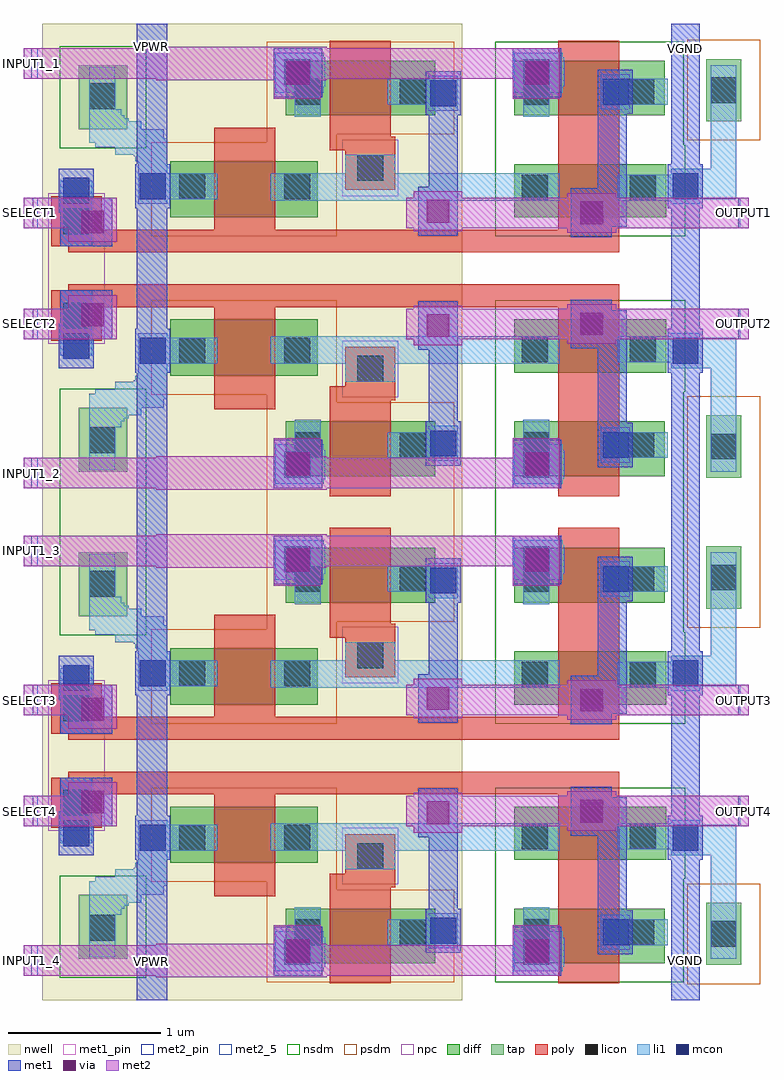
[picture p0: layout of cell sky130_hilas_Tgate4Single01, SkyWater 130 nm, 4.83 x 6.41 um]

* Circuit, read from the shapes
.subckt sky130_hilas_Tgate4Single01 INPUT1_1 INPUT1_2 INPUT1_3 INPUT1_4 OUTPUT1 OUTPUT2 OUTPUT3 OUTPUT4 SELECT1 SELECT2 SELECT3 SELECT4 VGND VPWR
XM1 OUTPUT4 SELECT4 INPUT1_4 VGND sky130_fd_pr__nfet_01v8 w=0.36 l=0.4
XM2 VGND SELECT4 n1 VGND sky130_fd_pr__nfet_01v8 w=0.35 l=0.4
XM3 VGND SELECT3 n2 VGND sky130_fd_pr__nfet_01v8 w=0.35 l=0.4
XM4 OUTPUT3 SELECT3 INPUT1_3 VGND sky130_fd_pr__nfet_01v8 w=0.36 l=0.4
XM5 OUTPUT2 SELECT2 INPUT1_2 VGND sky130_fd_pr__nfet_01v8 w=0.36 l=0.4
XM6 VGND SELECT2 n3 VGND sky130_fd_pr__nfet_01v8 w=0.35 l=0.4
XM7 VGND SELECT1 n4 VGND sky130_fd_pr__nfet_01v8 w=0.35 l=0.4
XM8 OUTPUT1 SELECT1 INPUT1_1 VGND sky130_fd_pr__nfet_01v8 w=0.36 l=0.4
XM9 n1 SELECT4 VPWR VPWR sky130_fd_pr__pfet_01v8 w=0.37 l=0.4
XM10 n2 SELECT3 VPWR VPWR sky130_fd_pr__pfet_01v8 w=0.37 l=0.4
XM11 n3 SELECT2 VPWR VPWR sky130_fd_pr__pfet_01v8 w=0.37 l=0.4
XM12 n4 SELECT1 VPWR VPWR sky130_fd_pr__pfet_01v8 w=0.37 l=0.4
XM13 OUTPUT4 n1 INPUT1_4 VPWR sky130_fd_pr__pfet_01v8 w=0.36 l=0.4
XM14 OUTPUT3 n2 INPUT1_3 VPWR sky130_fd_pr__pfet_01v8 w=0.36 l=0.4
XM15 OUTPUT2 n3 INPUT1_2 VPWR sky130_fd_pr__pfet_01v8 w=0.36 l=0.4
XM16 OUTPUT1 n4 INPUT1_1 VPWR sky130_fd_pr__pfet_01v8 w=0.36 l=0.4
.ends

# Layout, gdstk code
import gdstk
lib = gdstk.Library(unit=1e-6, precision=1e-09)
def R(c, l, rs):  # rectangles x0, y0, x1, y1
    for r in rs: c.add(gdstk.rectangle(r[:2], r[2:], *l))
nwell = (64, 20)
diff = (65, 20)
tap = (65, 44)
poly = (66, 20)
licon = (66, 44)
li1 = (67, 20)
mcon = (67, 44)
met1_pin = (68, 16)
met1 = (68, 20)
via = (68, 44)
met2_5 = (69, 5)
met2_pin = (69, 16)
met2 = (69, 20)
nsdm = (93, 44)
psdm = (94, 20)
npc = (95, 20)

sky130_hilas_li2m1 = lib.new_cell('sky130_hilas_li2m1')
R(sky130_hilas_li2m1, li1, [(-0.08,-0.05,0.11,0.18)])
R(sky130_hilas_li2m1, mcon, [(-0.07,-0.02,0.1,0.15)])
R(sky130_hilas_li2m1, met1, [(-0.1,-0.08,0.13,0.21)])

sky130_hilas_li2m2 = lib.new_cell('sky130_hilas_li2m2')
R(sky130_hilas_li2m2, li1, [(-0.13,-0.12,0.19,-0.09), (-0.13,-0.09,0.2,0.1), (-0.13,0.1,0.19,0.14)])
R(sky130_hilas_li2m2, mcon, [(-0.07,-0.08,0.1,0.09)])
R(sky130_hilas_li2m2, met1, [(-0.14,-0.15,0.18,0.17)])
R(sky130_hilas_li2m2, via, [(-0.055,-0.065,0.095,0.085)])
R(sky130_hilas_li2m2, met2, [(-0.14,-0.15,0.17,0.18)])

sky130_hilas_m12m2 = lib.new_cell('sky130_hilas_m12m2')
R(sky130_hilas_m12m2, met1, [(-0.06,-0.1,0.2,0.22)])
R(sky130_hilas_m12m2, via, [(-0.005,-0.015,0.145,0.135)])
R(sky130_hilas_m12m2, met2, [(-0.09,-0.07,0.23,0.19)])

sky130_hilas_tgatesingle = lib.new_cell('sky130_hilas_TgateSingle01Part2')
R(sky130_hilas_tgatesingle, nwell, [(-0.67,-1.81,0.96,-0.97), (-0.18,-0.97,0.96,-0.38)])
R(sky130_hilas_tgatesingle, diff, [(-0.2,-1.62,0.78,-1.26)])
R(sky130_hilas_tgatesingle, poly, [(0.09,-1.75,0.49,-1.03)])
R(sky130_hilas_tgatesingle, licon, [(-0.14,-1.5,0.03,-1.33), (0.55,-1.5,0.72,-1.33)])
R(sky130_hilas_tgatesingle, li1, [(-0.14,-1.55,0.03,-1.25), (0.47,-1.5,0.85,-1.33), (0.72,-1.33,0.85,-1.32), (-0.18,-0.88,0.96,-0.7)])
R(sky130_hilas_tgatesingle, met1, [(0.72,-1.55,0.95,-1.26), (0.74,-1.26,0.93,-0.67)])
R(sky130_hilas_tgatesingle, met2, [(-0.67,-1.71,-0.45,-1.7), (-0.67,-1.7,0.96,-1.5), (-0.67,-1.5,-0.45,-1.49), (0.59,-0.72,0.96,-0.52)])
R(sky130_hilas_tgatesingle, psdm, [(-0.325,-1.745,0.905,-1.135)])
sky130_hilas_tgatesingle.add(gdstk.Reference(sky130_hilas_li2m1, (0.82,-1.47)))
sky130_hilas_tgatesingle.add(gdstk.Reference(sky130_hilas_li2m2, (-0.14,-1.55)))
sky130_hilas_tgatesingle.add(gdstk.Reference(sky130_hilas_m12m2, (0.73,-0.69)))

c_sky130_hilas_tgatesingle = lib.new_cell('sky130_hilas_TgateSingle01Part1')
R(c_sky130_hilas_tgatesingle, diff, [(2.91,-1.62,3.9,-1.26), (2.91,-0.94,3.91,-0.59)])
R(c_sky130_hilas_tgatesingle, tap, [(4.17,-1.63,4.4,-1.22)])
R(c_sky130_hilas_tgatesingle, poly, [(3.2,-1.75,3.6,-0.51), (2.57,-0.51,3.6,-0.36)])
R(c_sky130_hilas_tgatesingle, licon, [(4.2,-1.51,4.37,-1.34), (2.97,-1.5,3.14,-1.33), (3.66,-1.5,3.83,-1.33), (2.96,-0.87,3.13,-0.7), (3.67,-0.87,3.84,-0.7)])
R(c_sky130_hilas_tgatesingle, li1, [(4.2,-1.59,4.37,-0.91), (2.97,-1.55,3.14,-1.25), (3.63,-1.5,3.92,-1.33), (4.12,-0.91,4.37,-0.71), (2.57,-0.88,3.21,-0.7), (3.59,-0.87,3.94,-0.7)])
R(c_sky130_hilas_tgatesingle, met1, [(3.94,-1.81,4.13,-0.29), (3.46,-1.28,3.65,-0.78), (3.28,-0.78,3.65,-0.53), (3.28,-0.53,3.55,-0.46)])
R(c_sky130_hilas_tgatesingle, met2_5, [(4.39,-0.72,4.45,-0.52)])
R(c_sky130_hilas_tgatesingle, met2, [(2.57,-1.7,3.14,-1.5), (2.57,-0.72,4.45,-0.52)])
R(c_sky130_hilas_tgatesingle, nsdm, [(2.785,-1.745,4.025,-1.065), (2.785,-1.065,4.035,-0.465)])
R(c_sky130_hilas_tgatesingle, psdm, [(4.045,-1.755,4.525,-1.095)])
c_sky130_hilas_tgatesingle.add(gdstk.Reference(sky130_hilas_li2m1, (3.56,-1.48)))
c_sky130_hilas_tgatesingle.add(gdstk.Reference(sky130_hilas_li2m1, (4.02,-0.86)))
c_sky130_hilas_tgatesingle.add(gdstk.Reference(sky130_hilas_li2m2, (3.04,-1.55)))
c_sky130_hilas_tgatesingle.add(gdstk.Reference(sky130_hilas_m12m2, (3.35,-0.68)))
c_sky130_hilas_tgatesingle.add(gdstk.Label('output', (4.42,-0.62), layer=69, texttype=5))

sky130_hilas_poly2m1 = lib.new_cell('sky130_hilas_poly2m1')
R(sky130_hilas_poly2m1, poly, [(-0.09,-0.08,0.24,0.25)])
R(sky130_hilas_poly2m1, licon, [(-0.01,0,0.16,0.17)])
R(sky130_hilas_poly2m1, li1, [(-0.01,-0.2,0.16,-0.18), (-0.03,-0.18,0.18,0.25)])
R(sky130_hilas_poly2m1, mcon, [(-0.01,-0.2,0.16,-0.03)])
R(sky130_hilas_poly2m1, met1, [(-0.04,-0.26,0.19,0.03), (-0.03,0.03,0.19,0.25)])
R(sky130_hilas_poly2m1, npc, [(-0.11,-0.1,0.26,0.27)])

c_sky130_hilas_tgatesingle_ = lib.new_cell('sky130_hilas_TgateSingle01')
R(c_sky130_hilas_tgatesingle_, nwell, [(-2.51,-1.86,0.25,-1.81), (-2.51,-1.81,-0.53,-1.19), (-2.51,-1.19,-0.52,-1.02), (-2.51,-1.02,0.25,-0.25)])
R(c_sky130_hilas_tgatesingle_, diff, [(-1.67,-0.96,-0.7,-0.59)])
R(c_sky130_hilas_tgatesingle_, tap, [(-2.27,-1.59,-1.95,-1.17)])
R(c_sky130_hilas_tgatesingle_, poly, [(-1.38,-1.18,-0.98,-0.51), (-0.52,-1.12,-0.19,-0.77), (-2.34,-0.51,0.25,-0.36)])
R(c_sky130_hilas_tgatesingle_, licon, [(-2.2,-1.47,-2.03,-1.3), (-0.44,-1,-0.27,-0.83), (-1.61,-0.88,-1.44,-0.71), (-0.92,-0.88,-0.75,-0.71)])
R(c_sky130_hilas_tgatesingle_, li1, [(-2.2,-1.58,-2.03,-1.3), (-2.2,-1.3,-1.99,-1.26), (-2.2,-1.26,-1.97,-1.24), (-2.2,-1.24,-1.94,-1.22), (-2.2,-1.22,-1.86,-1.17), (-2.2,-1.17,-1.71,-1.11), (-2.2,-1.11,-1.69,-1.08), (-2.16,-1.08,-1.69,-1.05), (-2.03,-1.05,-1.69,-1), (-1.91,-1,-1.69,-0.99), (-0.52,-1,-0.19,-0.88), (-1.9,-0.99,-1.69,-0.96), (-1.88,-0.96,-1.69,-0.88), (-1.88,-0.88,-1.36,-0.83), (-1.01,-0.88,0.25,-0.7), (-1.71,-0.83,-1.36,-0.71)])
R(c_sky130_hilas_tgatesingle_, met1, [(-1.89,-1.86,-1.69,-0.25), (1.62,-1.86,1.81,-1.81), (1.62,-0.29,1.81,-0.25)])
R(c_sky130_hilas_tgatesingle_, met2_5, [(-2.63,-1.7,-2.54,-1.5), (-2.63,-0.72,-2.54,-0.52)])
R(c_sky130_hilas_tgatesingle_, met2, [(-1.76,-1.71,-0.64,-1.7), (-2.63,-1.7,-0.64,-1.5), (-1.76,-1.5,-0.64,-1.49), (-2.63,-0.72,-2.02,-0.52), (2.06,-0.72,2.13,-0.52)])
R(c_sky130_hilas_tgatesingle_, nsdm, [(-2.395,-1.715,-1.825,-1.045)])
R(c_sky130_hilas_tgatesingle_, psdm, [(-1.035,-1.135,-0.575,-1.085), (-1.795,-1.085,-0.575,-0.465)])
R(c_sky130_hilas_tgatesingle_, npc, [(-0.54,-1.1,-0.17,-0.73)])
c_sky130_hilas_tgatesingle_.add(gdstk.Reference(sky130_hilas_li2m1, (-1.8,-0.86)))
c_sky130_hilas_tgatesingle_.add(gdstk.Reference(sky130_hilas_tgatesingle, (-0.71,0)))
c_sky130_hilas_tgatesingle_.add(gdstk.Reference(c_sky130_hilas_tgatesingle, (-2.32,0)))
c_sky130_hilas_tgatesingle_.add(gdstk.Reference(sky130_hilas_m12m2, (-2.25,-0.62)))
c_sky130_hilas_tgatesingle_.add(gdstk.Reference(sky130_hilas_poly2m1, (-2.36,-0.65)))
c_sky130_hilas_tgatesingle_.add(gdstk.Label('Select', (-2.585,-0.62), layer=69, texttype=5))
c_sky130_hilas_tgatesingle_.add(gdstk.Label('Input', (-2.585,-1.6), layer=69, texttype=5))

sky130_hilas_tgate4singl = lib.new_cell('sky130_hilas_Tgate4Single01')
R(sky130_hilas_tgate4singl, nwell, [(-0.24,3.85,-0.23,4.23)])
R(sky130_hilas_tgate4singl, met1_pin, [(0.38,-1.41,0.58,-1.37), (3.89,-1.41,4.08,-1.35), (3.89,4.58,4.08,4.64), (0.38,4.6,0.58,4.64)])
R(sky130_hilas_tgate4singl, met1, [(0.38,-1.41,0.58,-1.37), (3.89,-1.41,4.08,-1.35), (3.89,4.58,4.08,4.64), (0.38,4.6,0.58,4.64)])
R(sky130_hilas_tgate4singl, met2_pin, [(-0.36,-1.48,-0.31,-1.28), (-0.36,-0.5,-0.3,-0.3), (4.33,-0.5,4.4,-0.3), (-0.36,0.23,-0.3,0.43), (4.33,0.23,4.4,0.43), (-0.36,1.21,-0.31,1.41), (-0.36,1.72,-0.31,1.92), (-0.36,2.7,-0.3,2.9), (4.33,2.7,4.4,2.9), (-0.36,3.43,-0.3,3.63), (4.33,3.43,4.4,3.63), (-0.36,4.41,-0.31,4.61)])
R(sky130_hilas_tgate4singl, met2, [(-0.36,-1.48,-0.31,-1.28), (-0.36,-0.5,-0.3,-0.3), (4.33,-0.5,4.4,-0.3), (-0.36,0.23,-0.3,0.43), (4.33,0.23,4.4,0.43), (-0.36,1.21,-0.31,1.41), (-0.36,1.72,-0.31,1.92), (-0.36,2.7,-0.3,2.9), (4.33,2.7,4.4,2.9), (-0.36,3.43,-0.3,3.63), (4.33,3.43,4.4,3.63), (-0.36,4.41,-0.31,4.61)])
R(sky130_hilas_tgate4singl, nsdm, [(-0.125,1.425,0.445,1.705), (2.735,1.455,3.975,1.675)])
R(sky130_hilas_tgate4singl, psdm, [(1.235,1.455,2.465,1.675), (3.995,1.465,4.475,1.665)])
R(sky130_hilas_tgate4singl, npc, [(-0.2,-0.16,0.17,0.09), (-0.2,3.04,0.17,3.29)])
sky130_hilas_tgate4singl.add(gdstk.Reference(c_sky130_hilas_tgatesingle_, (2.27,0.22)))
sky130_hilas_tgate4singl.add(gdstk.Reference(c_sky130_hilas_tgatesingle_, (2.27,-0.29), x_reflection=True))
sky130_hilas_tgate4singl.add(gdstk.Reference(c_sky130_hilas_tgatesingle_, (2.27,2.91), x_reflection=True))
sky130_hilas_tgate4singl.add(gdstk.Reference(c_sky130_hilas_tgatesingle_, (2.27,3.42)))
sky130_hilas_tgate4singl.add(gdstk.Label('VPWR', (0.48,-1.39), layer=68, texttype=16))
sky130_hilas_tgate4singl.add(gdstk.Label('VPWR', (0.48,4.62), layer=68, texttype=16))
sky130_hilas_tgate4singl.add(gdstk.Label('INPUT1_2', (-0.335,1.82), layer=69, texttype=16))
sky130_hilas_tgate4singl.add(gdstk.Label('SELECT2', (-0.33,2.8), layer=69, texttype=16))
sky130_hilas_tgate4singl.add(gdstk.Label('VGND', (3.985,4.61), layer=68, texttype=16))
sky130_hilas_tgate4singl.add(gdstk.Label('VGND', (3.985,-1.38), layer=68, texttype=16))
sky130_hilas_tgate4singl.add(gdstk.Label('OUTPUT2', (4.365,2.8), layer=69, texttype=16))
sky130_hilas_tgate4singl.add(gdstk.Label('OUTPUT4', (4.365,-0.4), layer=69, texttype=16))
sky130_hilas_tgate4singl.add(gdstk.Label('OUTPUT3', (4.365,0.33), layer=69, texttype=16))
sky130_hilas_tgate4singl.add(gdstk.Label('OUTPUT1', (4.365,3.53), layer=69, texttype=16))
sky130_hilas_tgate4singl.add(gdstk.Label('INPUT1_4', (-0.335,-1.38), layer=69, texttype=16))
sky130_hilas_tgate4singl.add(gdstk.Label('SELECT4', (-0.33,-0.4), layer=69, texttype=16))
sky130_hilas_tgate4singl.add(gdstk.Label('SELECT3', (-0.33,0.33), layer=69, texttype=16))
sky130_hilas_tgate4singl.add(gdstk.Label('INPUT1_3', (-0.335,1.31), layer=69, texttype=16))
sky130_hilas_tgate4singl.add(gdstk.Label('SELECT1', (-0.33,3.53), layer=69, texttype=16))
sky130_hilas_tgate4singl.add(gdstk.Label('INPUT1_1', (-0.335,4.51), layer=69, texttype=16))

lib.write_gds('sky130_hilas_Tgate4Single01.gds')
